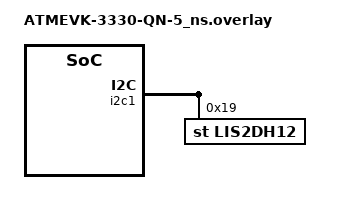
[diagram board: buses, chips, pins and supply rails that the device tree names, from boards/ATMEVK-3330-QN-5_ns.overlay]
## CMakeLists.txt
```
#
# Copyright (c) 2018, Yannis Damigos
#
# SPDX-License-Identifier: Apache-2.0
#

cmake_minimum_required(VERSION 3.28.0)
find_package(Zephyr REQUIRED HINTS $ENV{ZEPHYR_BASE})
project(lis2dh)

FILE(GLOB app_sources src/*.c)
target_sources(app PRIVATE ${app_sources})
```

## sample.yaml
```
sample:
  name: LIS2DH Accelerometer Monitor
tests:
  sample.sensor.lis2dh:
    filter: dt_compat_enabled("st,lis2dh")
    harness: sensor
    tags:
      - samples
      - sensor
    depends_on:
      - i2c
    integration_platforms:
      - sparkfun_thing_plus/nrf9160
```

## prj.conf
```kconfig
CONFIG_STDOUT_CONSOLE=y
CONFIG_I2C=y
CONFIG_SENSOR=y
CONFIG_LIS2DH=y
CONFIG_CBPRINTF_FP_SUPPORT=y
```

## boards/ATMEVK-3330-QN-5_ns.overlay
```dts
&i2c1 {
	status = "okay";
	sda-pullup;
	lis2dh12: lis2dh12@19 {
		compatible = "st,lis2dh12", "st,lis2dh";
		reg = <0x19>;
		label = "LIS2DH12";
	};
};
```

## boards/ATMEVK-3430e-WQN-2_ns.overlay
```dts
&i2c0 {
	status = "okay";
	sda-pullup;
	lis2dh12: lis2dh12@19 {
		compatible = "st,lis2dh12", "st,lis2dh";
		reg = <0x19>;
		label = "LIS2DH12";
	};
};
```

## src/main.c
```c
/*
 * Copyright (c) 2019 Nordic Semiconductor ASA
 *
 * SPDX-License-Identifier: Apache-2.0
 */

#include <stdio.h>
#include <zephyr/kernel.h>
#include <zephyr/device.h>
#include <zephyr/drivers/sensor.h>

static void fetch_and_display(const struct device *sensor)
{
	static unsigned int count;
	struct sensor_value accel[3];
	struct sensor_value temperature;
	const char *overrun = "";
	int rc = sensor_sample_fetch(sensor);

	++count;
	if (rc == -EBADMSG) {
		/* Sample overrun.  Ignore in polled mode. */
		if (IS_ENABLED(CONFIG_LIS2DH_TRIGGER)) {
			overrun = "[OVERRUN] ";
		}
		rc = 0;
	}
	if (rc == 0) {
		rc = sensor_channel_get(sensor, SENSOR_CHAN_ACCEL_XYZ, accel);
	}
	if (rc < 0) {
		printf("ERROR: Update failed: %d\n", rc);
	} else {
		printf("#%u @ %u ms: %sx %f , y %f , z %f", count, k_uptime_get_32(), overrun,
		       sensor_value_to_double(&accel[0]), sensor_value_to_double(&accel[1]),
		       sensor_value_to_double(&accel[2]));
	}

	if (IS_ENABLED(CONFIG_LIS2DH_MEASURE_TEMPERATURE)) {
		if (rc == 0) {
			rc = sensor_channel_get(sensor, SENSOR_CHAN_DIE_TEMP, &temperature);
			if (rc < 0) {
				printf("\nERROR: Unable to read temperature:%d\n", rc);
			} else {
				printf(", t %f\n", sensor_value_to_double(&temperature));
			}
		}

	} else {
		printf("\n");
	}
}

#ifdef CONFIG_LIS2DH_TRIGGER
static void trigger_handler(const struct device *dev, const struct sensor_trigger *trig)
{
	fetch_and_display(dev);
}
#endif

int main(void)
{
	const struct device *const sensor = DEVICE_DT_GET_ANY(st_lis2dh);

	if (sensor == NULL) {
		printf("No device found\n");
		return 0;
	}
	if (!device_is_ready(sensor)) {
		printf("Device %s is not ready\n", sensor->name);
		return 0;
	}

#if CONFIG_LIS2DH_TRIGGER
	{
		struct sensor_trigger trig;
		int rc;

		trig.type = SENSOR_TRIG_DATA_READY;
		trig.chan = SENSOR_CHAN_ACCEL_XYZ;

		if (IS_ENABLED(CONFIG_LIS2DH_ODR_RUNTIME)) {
			struct sensor_value odr = {
				.val1 = 1,
			};

			rc = sensor_attr_set(sensor, trig.chan, SENSOR_ATTR_SAMPLING_FREQUENCY,
					     &odr);
			if (rc != 0) {
				printf("Failed to set odr: %d\n", rc);
				return 0;
			}
			printf("Sampling at %u Hz\n", odr.val1);
		}

		rc = sensor_trigger_set(sensor, &trig, trigger_handler);
		if (rc != 0) {
			printf("Failed to set trigger: %d\n", rc);
			return 0;
		}

		printf("Waiting for triggers\n");
		while (true) {
			k_sleep(K_MSEC(2000));
		}
	}
#else  /* CONFIG_LIS2DH_TRIGGER */
	printf("Polling at 0.5 Hz\n");
	while (true) {
		fetch_and_display(sensor);
		k_sleep(K_MSEC(2000));
	}
#endif /* CONFIG_LIS2DH_TRIGGER */
}
```
